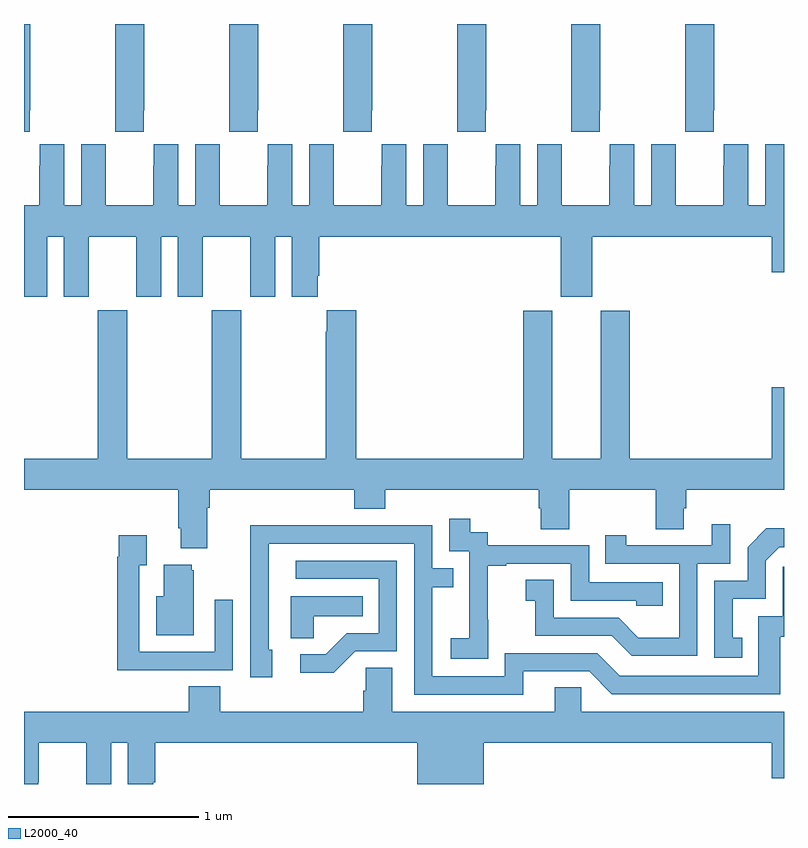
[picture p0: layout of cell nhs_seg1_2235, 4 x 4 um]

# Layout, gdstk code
import gdstk
lib = gdstk.Library(unit=1e-6, precision=1e-09)
def P(c, l, *ps):  # polygons
    for p in ps: c.add(gdstk.Polygon(p, *l))
L2000_40 = (2000, 40)

nhs_seg1_2235 = lib.new_cell('nhs_seg1_2235')
P(nhs_seg1_2235, L2000_40, [(233.631,537.745),(233.634,537.745),(233.634,538.199),(233.479,538.199),(233.479,537.745),(233.481,537.745),(233.481,537.633),(233.631,537.633)],
  [(234.231,537.745),(234.234,537.745),(234.234,538.199),(234.079,538.199),(234.079,537.745),(234.081,537.745),(234.081,537.633),(234.231,537.633)],
  [(234.831,537.745),(234.834,537.745),(234.834,538.199),(234.679,538.199),(234.679,537.745),(234.681,537.745),(234.681,537.633),(234.831,537.633)],
  [(235.431,537.745),(235.434,537.745),(235.434,538.199),(235.279,538.199),(235.279,537.745),(235.281,537.745),(235.281,537.633),(235.431,537.633)],
  [(236.031,537.745),(236.034,537.745),(236.034,538.199),(235.879,538.199),(235.879,537.745),(235.881,537.745),(235.881,537.633),(236.031,537.633)],
  [(236.631,537.745),(236.634,537.745),(236.634,538.199),(236.479,538.199),(236.479,537.745),(236.481,537.745),(236.481,537.633),(236.631,537.633)],
  [(233.031,537.745),(233.034,537.745),(233.034,538.199),(233,538.199),(233,537.633),(233.031,537.633)],
  [(233.591,536.763),(233.722,536.763),(233.722,537.08),(233.81,537.08),(233.81,536.763),(233.941,536.763),(233.941,537.08),(234.191,537.08),(234.191,536.763),(234.322,536.763),(234.322,537.08),(234.41,537.08),(234.41,536.763),(234.547,536.763),(234.547,536.875),(234.554,536.875),(234.554,537.08),(235.826,537.08),(235.826,536.763),(235.99,536.763),(235.99,537.08),(236.936,537.08),(236.936,536.892),(237,536.892),(237,537.565),(236.9,537.565),(236.9,537.244),(236.812,537.244),(236.812,537.565),(236.682,537.565),(236.682,537.452),(236.681,537.452),(236.681,537.244),(236.431,537.244),(236.431,537.452),(236.43,537.452),(236.43,537.565),(236.3,537.565),(236.3,537.244),(236.212,537.244),(236.212,537.565),(236.082,537.565),(236.082,537.452),(236.081,537.452),(236.081,537.244),(235.831,537.244),(235.831,537.452),(235.83,537.452),(235.83,537.565),(235.7,537.565),(235.7,537.244),(235.612,537.244),(235.612,537.565),(235.482,537.565),(235.482,537.452),(235.481,537.452),(235.481,537.244),(235.231,537.244),(235.231,537.452),(235.23,537.452),(235.23,537.565),(235.1,537.565),(235.1,537.244),(235.012,537.244),(235.012,537.565),(234.882,537.565),(234.882,537.452),(234.881,537.452),(234.881,537.244),(234.631,537.244),(234.631,537.452),(234.63,537.452),(234.63,537.565),(234.5,537.565),(234.5,537.244),(234.412,537.244),(234.412,537.565),(234.282,537.565),(234.282,537.452),(234.281,537.452),(234.281,537.244),(234.031,537.244),(234.031,537.452),(234.03,537.452),(234.03,537.565),(233.9,537.565),(233.9,537.244),(233.812,537.244),(233.812,537.565),(233.682,537.565),(233.682,537.452),(233.681,537.452),(233.681,537.244),(233.431,537.244),(233.431,537.452),(233.43,537.452),(233.43,537.565),(233.3,537.565),(233.3,537.244),(233.212,537.244),(233.212,537.565),(233.082,537.565),(233.082,537.452),(233.081,537.452),(233.081,537.244),(233,537.244),(233,536.763),(233.122,536.763),(233.122,537.08),(233.21,537.08),(233.21,536.763),(233.341,536.763),(233.341,537.08),(233.591,537.08)],
  [(233.965,535.652),(233.978,535.652),(233.978,535.748),(234.737,535.748),(234.737,535.649),(234.902,535.649),(234.902,535.748),(235.709,535.748),(235.709,535.65),(235.721,535.65),(235.721,535.54),(235.869,535.54),(235.869,535.748),(236.326,535.748),(236.326,535.54),(236.473,535.54),(236.473,535.65),(236.486,535.65),(236.486,535.748),(237,535.748),(237,536.287),(236.936,536.287),(236.936,535.912),(236.189,535.912),(236.189,536.691),(236.036,536.691),(236.036,535.912),(235.78,535.912),(235.78,536.691),(235.628,536.691),(235.628,535.912),(234.749,535.912),(234.749,536.692),(234.593,536.692),(234.593,536.579),(234.589,536.579),(234.589,535.912),(234.144,535.912),(234.144,536.692),(233.989,536.692),(233.989,535.912),(233.544,535.912),(233.544,536.692),(233.389,536.692),(233.389,535.912),(233,535.912),(233,535.748),(233.813,535.748),(233.813,535.546),(233.825,535.546),(233.825,535.439),(233.965,535.439)],
  [(235.443,535.063),(235.442,535.063),(235.442,535.347),(235.537,535.347),(235.537,535.359),(235.878,535.359),(235.878,535.164),(236.223,535.164),(236.223,535.137),(236.363,535.137),(236.363,535.26),(235.974,535.26),(235.974,535.455),(235.44,535.455),(235.44,535.524),(235.348,535.524),(235.348,535.594),(235.239,535.594),(235.239,535.425),(235.344,535.425),(235.344,535.196),(235.343,535.196),(235.343,534.967),(235.245,534.967),(235.245,534.857),(235.443,534.857)],
  [(236.544,535.359),(236.718,535.359),(236.718,535.567),(236.621,535.567),(236.621,535.455),(236.17,535.455),(236.17,535.507),(236.059,535.507),(236.059,535.359),(236.448,535.359),(236.448,534.97),(236.234,534.97),(236.13,535.074),(235.788,535.074),(235.788,535.273),(235.641,535.273),(235.641,535.163),(235.69,535.163),(235.69,534.978),(236.093,534.978),(236.198,534.873),(236.544,534.873)],
  [(235.627,534.792),(235.974,534.792),(236.094,534.672),(236.981,534.672),(236.981,534.975),(237,534.975),(237,535.342),(236.994,535.342),(236.994,535.083),(236.865,535.083),(236.865,534.768),(236.136,534.768),(236.016,534.888),(235.53,534.888),(235.53,534.765),(235.149,534.765),(235.149,535.234),(235.259,535.234),(235.259,535.335),(235.149,535.335),(235.149,535.56),(234.653,535.56),(234.653,535.562),(234.19,535.562),(234.19,535.255),(234.192,535.255),(234.192,534.762),(234.307,534.762),(234.307,534.906),(234.288,534.906),(234.288,535.464),(235.053,535.464),(235.053,534.669),(235.627,534.669)],
  [(236.78,534.969),(236.731,534.969),(236.731,535.173),(236.904,535.173),(236.904,535.374),(236.976,535.446),(237,535.446),(237,535.544),(236.906,535.544),(236.808,535.446),(236.808,535.269),(236.634,535.269),(236.634,534.864),(236.78,534.864)],
  [(233.783,534.798),(234.099,534.798),(234.099,535.168),(234.003,535.168),(234.003,534.894),(233.607,534.894),(233.607,535.351),(233.647,535.351),(233.647,535.507),(233.499,535.507),(233.499,535.394),(233.491,535.394),(233.491,534.797),(233.783,534.797)],
  [(234.744,534.897),(234.963,534.897),(234.963,535.374),(234.429,535.374),(234.429,535.278),(234.867,535.278),(234.867,534.993),(234.698,534.993),(234.587,534.882),(234.453,534.882),(234.453,534.785),(234.631,534.785)],
  [(233.893,535.323),(233.882,535.323),(233.882,535.354),(233.735,535.354),(233.735,535.186),(233.696,535.186),(233.696,534.983),(233.893,534.983)],
  [(234.525,535.082),(234.782,535.082),(234.782,535.186),(234.404,535.186),(234.404,534.967),(234.525,534.967)],
  [(233.076,534.208),(233.077,534.208),(233.077,534.416),(233.327,534.416),(233.327,534.208),(233.328,534.208),(233.328,534.199),(233.458,534.199),(233.458,534.416),(233.546,534.416),(233.546,534.199),(233.68,534.199),(233.68,534.208),(233.69,534.208),(233.69,534.416),(235.07,534.416),(235.07,534.199),(235.42,534.199),(235.42,534.416),(236.936,534.416),(236.936,534.228),(237,534.228),(237,534.58),(235.932,534.58),(235.932,534.707),(235.793,534.707),(235.793,534.58),(234.937,534.58),(234.937,534.812),(234.798,534.812),(234.798,534.689),(234.785,534.689),(234.785,534.58),(234.032,534.58),(234.032,534.713),(233.867,534.713),(233.867,534.58),(233,534.58),(233,534.199),(233.076,534.199)])

lib.write_gds('nhs_seg1_2235.gds')
